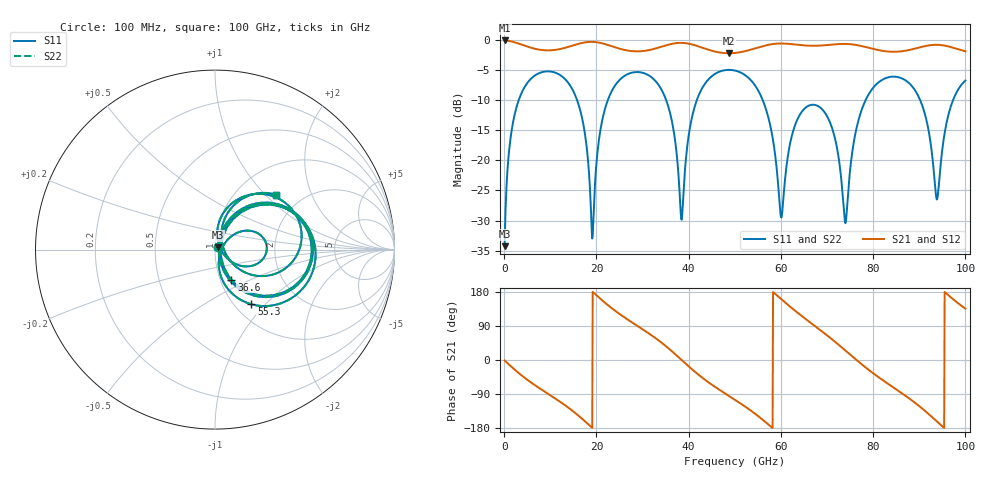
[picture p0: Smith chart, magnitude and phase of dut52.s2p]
! Touchstone file exported from HFSS 2026.1.0
!  File:  C:/ffzhzh/LocalFiles/Ansys_Project_Files/temp_train_TSV_RDL_52_1783445724_50928.aedt
!  Generated:  01:51:04 AM Jul  8, 2026
!  Design:  TSV_RDL
!  Project:  temp_train_TSV_RDL_52_1783445724_50928
! Variables:
!  h_bsmrdl = 3.16um
!  h_ox = 20um
!  h_rdl = 5um
!  h_sub = 50.14um
!  h_tmrdl = 4.19um
!  h_tsv = 50.14um
!  h_via = 3um
!  l_bsmrdl = 621.46um
!  l_sub = 3412.86um
!  l_tmrdl = 253.4um
!  m_sub = 200um
!  pitch = 48.38um
!  r_tsv = 5.95um
!  s_tmrdl = 10um
!  w_bsmrdl = 22.22um
!  w_sub = 500um
!  w_tmrdl = 22.74um
!  x_tsv_center1 = 264.77um
!  x_tsv_center2 = 908.45um
!  x_tsv_center3 = 1184.59um
!  x_tsv_center4 = 1828.27um
!  x_tsv_center5 = 2104.41um
!  x_tsv_center6 = 2748.09um
# GHz S MA R 50.000000
! Terminal data exported
! Port[1] = TM_RDL1_1_T1
! Port[2] = TM_RDL5_1_T1
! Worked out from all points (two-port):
!   1000 points, 100 MHz to 100 GHz, reference 50 ohm
!   highest |S21| = -0.13 dB at 100 MHz (marker M1); lowest = -2.3 dB at 48.8 GHz (marker M2)
!   |S21| within 3 dB of the highest: start of sweep to end of sweep
!   lowest |S11| = -34.2 dB at 100 MHz (marker M3), VSWR 1.04, Z = 51.6 + j1.22 ohm
!   |S11| at or under -10 dB: 15.8 GHz to 22.49 GHz (6.686 GHz wide, 34.9 % of centre); 56.05 GHz to 78.38 GHz (22.34 GHz wide, 33.2 % of centre); 90.18 GHz to 97.34 GHz (7.158 GHz wide, 7.63 % of centre) (the widest 3 of 5)
!   |S22| runs from -34.2 to -5.0 dB; largest |S21 - S12| = 1.7e-14
!   S11 on the Smith chart (normalised r, x): 100 MHz: 1.03, +0.02; 36.6 GHz: 1.13, -0.39; 55.3 GHz: 1.19, -0.83; 100 GHz: 1.50, +1.16
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0.1  0.01942 37.4  0.9848 -1.2  0.9848 -1.2  0.01942 37.4
! Gamma 0 0 0 0
! Port Impedance 50 0 50 0
1.7  0.1842 64.8  0.9635 -19.1  0.9635 -19.1  0.1842 64.8
4.9  0.4311 36.0  0.88 -51.1  0.88 -51.1  0.4311 36.0
16.8  0.2326 -60.6  0.9377 -154.0  0.9377 -154.0  0.2325 -60.5
19.1  0.02249 -6.3  0.9587 -179.1  0.9587 -179.1  0.02262 -6.1
23.3  0.3728 43.1  0.8829 137.0  0.8829 137.0  0.3729 43.2
33.4  0.4256 -36.0  0.8576 52.5  0.8576 52.5  0.4257 -35.9
36.6  0.1899 -61.4  0.9268 20.6  0.9268 20.6  0.1902 -61.1
38.5  0.03216 6.0  0.9405 -0.2  0.9405 -0.2  0.03332 5.7
41.8  0.3173 48.7  0.8878 -35.5  0.8878 -35.5  0.3174 48.5
48.8  0.5618 -5.9  0.7713 -95.3  0.7713 -95.3  0.5618 -6.0
50.1  0.5538 -15.4  0.7762 -105.4  0.7762 -105.4  0.5538 -15.5
55.3  0.3652 -56.4  0.8669 -150.3  0.8669 -150.3  0.3651 -56.5
60.1  0.03354 -16.3  0.9292 160.3  0.9292 160.3  0.033 -16.2
66.7  0.2884 4.3  0.8897 95.9  0.8897 95.9  0.2884 4.3
71.2  0.1797 -30.9  0.9111 53.5  0.9111 53.5  0.1797 -31.0
74  0.03009 26.5  0.9219 24.9  0.9219 24.9  0.0297 26.3
77.3  0.2477 73.0  0.8885 -9.2  0.8885 -9.2  0.2476 73.1
83.4  0.4887 24.4  0.7959 -64.3  0.7959 -64.3  0.4887 24.5
90.2  0.3148 -27.9  0.8646 -123.7  0.8646 -123.7  0.3148 -27.8
93.8  0.04733 13.9  0.9065 -161.9  0.9065 -161.9  0.04753 13.9
100  0.4582 41.9  0.8013 135.4  0.8013 135.4  0.4582 41.9
